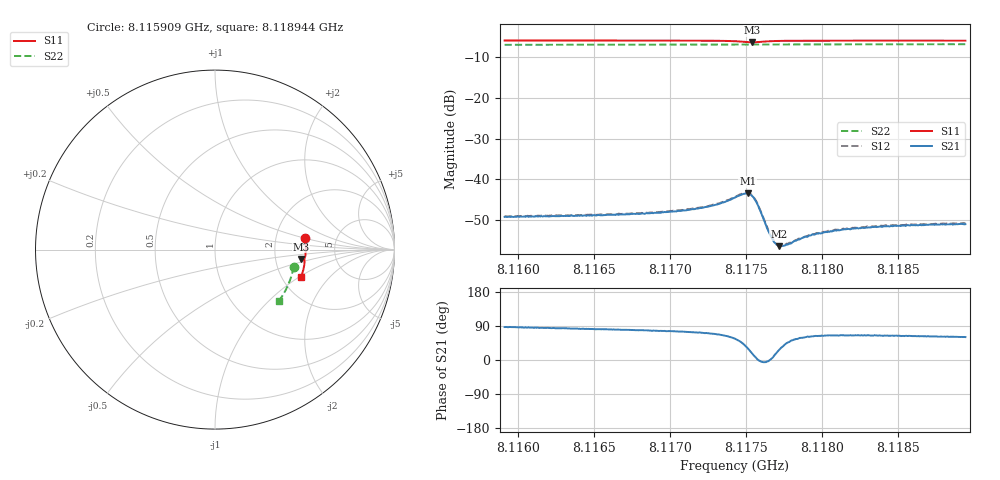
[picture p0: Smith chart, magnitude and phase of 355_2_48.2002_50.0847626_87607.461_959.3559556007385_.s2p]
#  HZ  S  RI  R  50.00
! Rohde & Schwarz Vector Network Analyzer
! Rohde-Schwarz,ZNB20-2Port,1311601062101988,3.16
! Created: UTC 3/20/2024, 11:51:58 AM
! freq[Hz]  re:S11  im:S11  re:S21  im:S21  re:S12  im:S12  re:S22  im:S22
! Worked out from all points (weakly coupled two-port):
!   401 points, 8.115909 GHz to 8.118944 GHz, reference 50 ohm
!   highest |S21| = -43.40 dB at 8.11751 GHz (marker M1); lowest = -56.4 dB at 8.117715 GHz (marker M2)
!   lowest |S11| = -6.3 dB at 8.11754 GHz (marker M3), VSWR 2.86, Z = 140 - j18.9 ohm
!   |S11| at or under -10 dB: nowhere
!   |S22| runs from -7.0 to -6.8 dB; largest |S21 - S12| = 0.00018
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8.1159093e9  0.5033 0.0649  0.000184 0.00347  0.000251 0.00352  0.4383 -0.095
8.1164175e9  0.506 0.0268  0.000479 0.00358  0.00054 0.00363  0.4307 -0.1295
8.1169258e9  0.5057 -0.0123  0.000918 0.00381  0.000922 0.00388  0.4204 -0.1633
8.1171079e9  0.5044 -0.0269  0.00115 0.00405  0.0012 0.00409  0.4162 -0.1753
8.1172293e9  0.5029 -0.0372  0.00151 0.00433  0.00153 0.00436  0.413 -0.1832
8.1173127e9  0.5006 -0.045  0.0019 0.00459  0.00199 0.00466  0.4108 -0.1886
8.1174265e9  0.4938 -0.0561  0.00334 0.005  0.00346 0.00502  0.4074 -0.1961
8.117472e9  0.4876 -0.0589  0.0046 0.00467  0.00475 0.0047  0.4058 -0.199
8.11751e9  0.4813 -0.0571  0.00578 0.00351  0.00591 0.0035  0.4046 -0.201
8.1175403e9  0.4788 -0.0518  0.00599 0.0018  0.00613 0.00177  0.4036 -0.2026
8.1175555e9  0.4797 -0.0488  0.00566 0.000967  0.00576 0.000943  0.4033 -0.2034
8.1175783e9  0.483 -0.0457  0.0048 4.18e-05  0.00487 4.24e-05  0.4028 -0.2045
8.1176465e9  0.4935 -0.0484  0.00232 -0.000127  0.00238 -0.000142  0.4014 -0.209
8.1176693e9  0.4954 -0.051  0.00192 0.000154  0.00192 0.000132  0.4009 -0.2105
8.117692e9  0.4968 -0.0535  0.0016 0.000438  0.00162 0.000412  0.4003 -0.2119
8.1177148e9  0.4978 -0.0561  0.00137 0.000659  0.00143 0.000659  0.3996 -0.2134
8.1177603e9  0.4988 -0.0612  0.00115 0.00106  0.00119 0.00107  0.3982 -0.2163
8.1178741e9  0.4988 -0.072  0.001 0.00165  0.001 0.00166  0.3947 -0.2235
8.1179348e9  0.4984 -0.0774  0.000982 0.00188  0.000995 0.00184  0.3927 -0.2274
8.1181321e9  0.496 -0.0934  0.00101 0.0022  0.00102 0.00224  0.3861 -0.2397
8.1184431e9  0.491 -0.1169  0.00117 0.00239  0.00121 0.00244  0.3749 -0.2583
8.1189438e9  0.4806 -0.1531  0.0014 0.00246  0.00141 0.00252  0.3549 -0.2873
